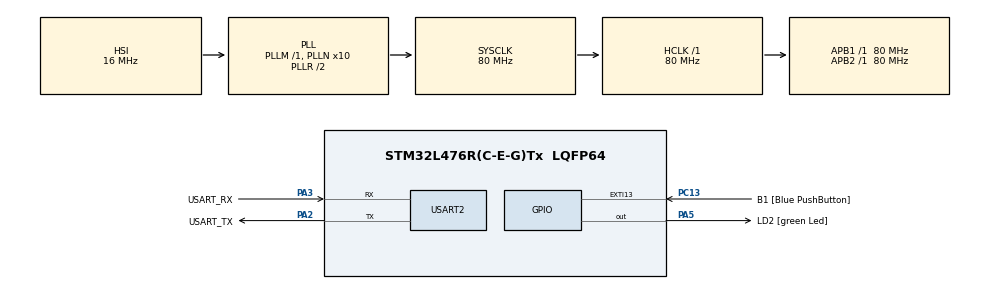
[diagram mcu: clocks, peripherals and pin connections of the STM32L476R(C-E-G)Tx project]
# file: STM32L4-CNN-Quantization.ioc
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Mcu.Family=STM32L4
Mcu.Name=STM32L476R(C-E-G)Tx
Mcu.Package=LQFP64
NVIC.PriorityGroup=NVIC_PRIORITYGROUP_4
PA13\ (JTMS-SWDIO).GPIO_Label=TMS
PA13\ (JTMS-SWDIO).Mode=Serial_Wire
PA13\ (JTMS-SWDIO).Signal=SYS_JTMS-SWDIO
PA14\ (JTCK-SWCLK).GPIO_Label=TCK
PA14\ (JTCK-SWCLK).Mode=Serial_Wire
PA14\ (JTCK-SWCLK).Signal=SYS_JTCK-SWCLK
PA2.GPIO_Label=USART_TX
PA2.GPIO_Mode=GPIO_MODE_AF_PP
PA2.GPIO_PuPd=GPIO_NOPULL
PA2.GPIO_Speed=GPIO_SPEED_FREQ_HIGH
PA2.Mode=Asynchronous
PA2.Signal=USART2_TX
PA3.GPIO_Label=USART_RX
PA3.GPIO_Mode=GPIO_MODE_AF_PP
PA3.GPIO_PuPd=GPIO_NOPULL
PA3.GPIO_Speed=GPIO_SPEED_FREQ_HIGH
PA3.Mode=Asynchronous
PA3.Signal=USART2_RX
PA5.GPIO_Label=LD2 [green Led]
PA5.GPIO_ModeDefaultOutputPP=GPIO_MODE_OUTPUT_PP
PA5.GPIO_PuPd=GPIO_NOPULL
PA5.GPIO_Speed=GPIO_SPEED_FREQ_LOW
PA5.Signal=GPIO_Output
PB3\ (JTDO-TRACESWO).GPIO_Label=SWO
PB3\ (JTDO-TRACESWO).Signal=SYS_JTDO-SWO
PC13.GPIO_Label=B1 [Blue PushButton]
PC13.GPIO_ModeDefaultEXTI=GPIO_MODE_IT_FALLING
PC13.GPIO_PuPd=GPIO_NOPULL
PC13.Signal=GPXTI13
PC14-OSC32_IN\ (PC14).Mode=LSE-External-Oscillator
PC14-OSC32_IN\ (PC14).Signal=RCC_OSC32_IN
PC15-OSC32_OUT\ (PC15).Mode=LSE-External-Oscillator
PC15-OSC32_OUT\ (PC15).Signal=RCC_OSC32_OUT
PH0-OSC_IN\ (PH0).Signal=RCC_OSC_IN
PH1-OSC_OUT\ (PH1).Signal=RCC_OSC_OUT
ProjectManager.HeapSize=0x200
ProjectManager.StackSize=0x400
ProjectManager.TargetToolchain=STM32CubeIDE
RCC.ADCFreq_Value=64000000
RCC.AHBFreq_Value=80000000
RCC.APB1Freq_Value=80000000
RCC.APB1TimFreq_Value=80000000
RCC.APB2Freq_Value=80000000
RCC.APB2TimFreq_Value=80000000
RCC.CortexFreq_Value=80000000
RCC.HCLKFreq_Value=80000000
RCC.HSE_VALUE=8000000
RCC.HSI_VALUE=16000000
RCC.MSI_VALUE=4000000
RCC.PLLN=10
RCC.PLLSourceVirtual=RCC_PLLSOURCE_HSI
RCC.PREFETCH_ENABLE=1
RCC.SYSCLKFreq_VALUE=80000000
RCC.SYSCLKSource=RCC_SYSCLKSOURCE_PLLCLK
RCC.USBFreq_Value=64000000
RCC.VCOOutputFreq_Value=160000000
USART2.VirtualMode-Asynchronous=VM_ASYNC
board=NUCLEO-L476RG

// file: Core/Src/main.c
/* USER CODE BEGIN Header */
/**
  ******************************************************************************
  * @file           : main.c
  * @brief          : Main program body
  ******************************************************************************
  * @attention
  *
  * Copyright (c) 2024 STMicroelectronics.
  * All rights reserved.
  *
  * This software is licensed under terms that can be found in the LICENSE file
  * in the root directory of this software component.
  * If no LICENSE file comes with this software, it is provided AS-IS.
  *
  ******************************************************************************
  */
/* USER CODE END Header */
#include "stdio.h"
#include "main.h"
#include "arm_math.h"
#include "arm_nnfunctions.h"

#include "parameter.h"
#include "weights.h"
#include "inputs.h"

UART_HandleTypeDef huart2;

/* USER CODE BEGIN PV */

// include the input and weights
static q7_t conv1_wt[CONV1_IM_CH * CONV1_KER_DIM * CONV1_KER_DIM * CONV1_OUT_CH] = CONV1_WT;
static q7_t conv1_bias[CONV1_OUT_CH] = CONV1_BIAS;

static q7_t conv2_wt[CONV2_IM_CH * CONV2_KER_DIM * CONV2_KER_DIM * CONV2_OUT_CH] = CONV2_WT;
static q7_t conv2_bias[CONV2_OUT_CH] = CONV2_BIAS;

static q7_t conv3_wt[CONV3_IM_CH * CONV3_KER_DIM * CONV3_KER_DIM * CONV3_OUT_CH] = CONV3_WT;
static q7_t conv3_bias[CONV3_OUT_CH] = CONV3_BIAS;

static q7_t ip1_wt[IP1_DIM * IP1_OUT] = IP1_WT;
static q7_t ip1_bias[IP1_OUT] = IP1_BIAS;

/* Here the image_data should be the raw uint8 type RGB image in [RGB, RGB, RGB ... RGB] format */
uint8_t   image_data[CONV1_IM_CH * CONV1_IM_DIM * CONV1_IM_DIM] = IMG_DATA;
q7_t      output_data[IP1_OUT];

//vector buffer: max(im2col buffer,average pool buffer, fully connected buffer)
q7_t      col_buffer[2 * 5 * 5 * 32 * 2];
q7_t      scratch_buffer[32 * 32 * 10 * 4];

/* USER CODE END PV */

void SystemClock_Config(void);
static void MX_GPIO_Init(void);
static void MX_USART2_UART_Init(void);

int main(void)
{

  /* MCU Configuration--------------------------------------------------------*/

  /* Reset of all peripherals, Initializes the Flash interface and the Systick. */
  HAL_Init();

  /* Configure the system clock */
  SystemClock_Config();

  /* Initialize all configured peripherals */
  MX_GPIO_Init();
  MX_USART2_UART_Init();

  /* Infinite loop */
  while (1)
  {

    /* USER CODE BEGIN 3 */
		uint8_t start[] = "START EXECUTION\r\n"; //Data to send
		HAL_UART_Transmit(&huart2,start,sizeof(start),10);// Sending in normal mode

		HAL_GPIO_WritePin(LD2_GPIO_Port, LD2_Pin, GPIO_PIN_SET); //SET Led to measure latency

		q7_t     *img_buffer1 = scratch_buffer;
		q7_t     *img_buffer2 = img_buffer1 + 32 * 32 * 32;

		/* input pre-processing */
		int mean_data[3] = INPUT_MEAN_SHIFT;
		unsigned int scale_data[3] = INPUT_RIGHT_SHIFT;
		for (int i=0;i<32*32*3; i+=3) {
		  img_buffer2[i] =   (q7_t)__SSAT( ((((int)image_data[i]   - mean_data[0])<<7) + (0x1<<(scale_data[0]-1)))
								   >> scale_data[0], 8);
		  img_buffer2[i+1] = (q7_t)__SSAT( ((((int)image_data[i+1] - mean_data[1])<<7) + (0x1<<(scale_data[1]-1)))
								   >> scale_data[1], 8);
		  img_buffer2[i+2] = (q7_t)__SSAT( ((((int)image_data[i+2] - mean_data[2])<<7) + (0x1<<(scale_data[2]-1)))
								   >> scale_data[2], 8);
		}

		// conv1 img_buffer2 -> img_buffer1
		arm_convolve_HWC_q7_RGB(img_buffer2, CONV1_IM_DIM, CONV1_IM_CH, conv1_wt, CONV1_OUT_CH, CONV1_KER_DIM, CONV1_PADDING,
								CONV1_STRIDE, conv1_bias, CONV1_BIAS_LSHIFT, CONV1_OUT_RSHIFT, img_buffer1, CONV1_OUT_DIM,
								(q15_t *) col_buffer, NULL);

		arm_relu_q7(img_buffer1, CONV1_OUT_DIM * CONV1_OUT_DIM * CONV1_OUT_CH);

		// pool1 img_buffer1 -> img_buffer2
		arm_maxpool_q7_HWC(img_buffer1, CONV1_OUT_DIM, CONV1_OUT_CH, POOL1_KER_DIM,
						   POOL1_PADDING, POOL1_STRIDE, POOL1_OUT_DIM, NULL, img_buffer2);

		// conv2 img_buffer2 -> img_buffer1
		arm_convolve_HWC_q7_fast(img_buffer2, CONV2_IM_DIM, CONV2_IM_CH, conv2_wt, CONV2_OUT_CH, CONV2_KER_DIM,
								 CONV2_PADDING, CONV2_STRIDE, conv2_bias, CONV2_BIAS_LSHIFT, CONV2_OUT_RSHIFT, img_buffer1,
								 CONV2_OUT_DIM, (q15_t *) col_buffer, NULL);

		arm_relu_q7(img_buffer1, CONV2_OUT_DIM * CONV2_OUT_DIM * CONV2_OUT_CH);

		// pool2 img_buffer1 -> img_buffer2
		arm_maxpool_q7_HWC(img_buffer1, CONV2_OUT_DIM, CONV2_OUT_CH, POOL2_KER_DIM,
						   POOL2_PADDING, POOL2_STRIDE, POOL2_OUT_DIM, col_buffer, img_buffer2);

	  // conv3 img_buffer2 -> img_buffer1
		arm_convolve_HWC_q7_fast(img_buffer2, CONV3_IM_DIM, CONV3_IM_CH, conv3_wt, CONV3_OUT_CH, CONV3_KER_DIM,
								 CONV3_PADDING, CONV3_STRIDE, conv3_bias, CONV3_BIAS_LSHIFT, CONV3_OUT_RSHIFT, img_buffer1,
								 CONV3_OUT_DIM, (q15_t *) col_buffer, NULL);

		arm_relu_q7(img_buffer1, CONV3_OUT_DIM * CONV3_OUT_DIM * CONV3_OUT_CH);

		// pool3 img_buffer-> img_buffer2
		arm_maxpool_q7_HWC(img_buffer1, CONV3_OUT_DIM, CONV3_OUT_CH, POOL3_KER_DIM,
						   POOL3_PADDING, POOL3_STRIDE, POOL3_OUT_DIM, col_buffer, img_buffer2);

		arm_fully_connected_q7_opt(img_buffer2, ip1_wt, IP1_DIM, IP1_OUT, IP1_BIAS_LSHIFT, IP1_OUT_RSHIFT, ip1_bias,
								   output_data, (q15_t *) img_buffer1);

		arm_softmax_q7(output_data, 10, output_data);

		HAL_GPIO_WritePin(LD2_GPIO_Port, LD2_Pin, GPIO_PIN_RESET);

		for (int i = 0; i < 10; i++) {
		    uint8_t res[20];
		    snprintf((char *)res, sizeof(res), "%d: %d\n\r", i, output_data[i]);

		    // Transmit only the length of the formatted string
		    HAL_UART_Transmit(&huart2, res, strlen((char *)res), 10);
		}

		HAL_Delay(1000);

  }
  /* USER CODE END 3 */
}

void SystemClock_Config(void)
{
  RCC_OscInitTypeDef RCC_OscInitStruct = {0};
  RCC_ClkInitTypeDef RCC_ClkInitStruct = {0};

  /** Configure the main internal regulator output voltage
  */
  if (HAL_PWREx_ControlVoltageScaling(PWR_REGULATOR_VOLTAGE_SCALE1) != HAL_OK)
  {
    Error_Handler();
  }

  /** Initializes the RCC Oscillators according to the specified parameters
  * in the RCC_OscInitTypeDef structure.
  */
  RCC_OscInitStruct.OscillatorType = RCC_OSCILLATORTYPE_HSI;
  RCC_OscInitStruct.HSIState = RCC_HSI_ON;
  RCC_OscInitStruct.HSICalibrationValue = RCC_HSICALIBRATION_DEFAULT;
  RCC_OscInitStruct.PLL.PLLState = RCC_PLL_ON;
  RCC_OscInitStruct.PLL.PLLSource = RCC_PLLSOURCE_HSI;
  RCC_OscInitStruct.PLL.PLLM = 1;
  RCC_OscInitStruct.PLL.PLLN = 10;
  RCC_OscInitStruct.PLL.PLLP = RCC_PLLP_DIV7;
  RCC_OscInitStruct.PLL.PLLQ = RCC_PLLQ_DIV2;
  RCC_OscInitStruct.PLL.PLLR = RCC_PLLR_DIV2;
  if (HAL_RCC_OscConfig(&RCC_OscInitStruct) != HAL_OK)
  {
    Error_Handler();
  }

  /** Initializes the CPU, AHB and APB buses clocks
  */
  RCC_ClkInitStruct.ClockType = RCC_CLOCKTYPE_HCLK|RCC_CLOCKTYPE_SYSCLK
                              |RCC_CLOCKTYPE_PCLK1|RCC_CLOCKTYPE_PCLK2;
  RCC_ClkInitStruct.SYSCLKSource = RCC_SYSCLKSOURCE_PLLCLK;
  RCC_ClkInitStruct.AHBCLKDivider = RCC_SYSCLK_DIV1;
  RCC_ClkInitStruct.APB1CLKDivider = RCC_HCLK_DIV1;
  RCC_ClkInitStruct.APB2CLKDivider = RCC_HCLK_DIV1;

  if (HAL_RCC_ClockConfig(&RCC_ClkInitStruct, FLASH_LATENCY_4) != HAL_OK)
  {
    Error_Handler();
  }
}

static void MX_USART2_UART_Init(void)
{

  huart2.Instance = USART2;
  huart2.Init.BaudRate = 115200;
  huart2.Init.WordLength = UART_WORDLENGTH_8B;
  huart2.Init.StopBits = UART_STOPBITS_1;
  huart2.Init.Parity = UART_PARITY_NONE;
  huart2.Init.Mode = UART_MODE_TX_RX;
  huart2.Init.HwFlowCtl = UART_HWCONTROL_NONE;
  huart2.Init.OverSampling = UART_OVERSAMPLING_16;
  huart2.Init.OneBitSampling = UART_ONE_BIT_SAMPLE_DISABLE;
  huart2.AdvancedInit.AdvFeatureInit = UART_ADVFEATURE_NO_INIT;
  if (HAL_UART_Init(&huart2) != HAL_OK)
  {
    Error_Handler();
  }

}

static void MX_GPIO_Init(void)
{
  GPIO_InitTypeDef GPIO_InitStruct = {0};

  /* GPIO Ports Clock Enable */
  __HAL_RCC_GPIOC_CLK_ENABLE();
  __HAL_RCC_GPIOH_CLK_ENABLE();
  __HAL_RCC_GPIOA_CLK_ENABLE();
  __HAL_RCC_GPIOB_CLK_ENABLE();

  /*Configure GPIO pin Output Level */
  HAL_GPIO_WritePin(LD2_GPIO_Port, LD2_Pin, GPIO_PIN_RESET);

  /*Configure GPIO pin : B1_Pin */
  GPIO_InitStruct.Pin = B1_Pin;
  GPIO_InitStruct.Mode = GPIO_MODE_IT_FALLING;
  GPIO_InitStruct.Pull = GPIO_NOPULL;
  HAL_GPIO_Init(B1_GPIO_Port, &GPIO_InitStruct);

  /*Configure GPIO pin : LD2_Pin */
  GPIO_InitStruct.Pin = LD2_Pin;
  GPIO_InitStruct.Mode = GPIO_MODE_OUTPUT_PP;
  GPIO_InitStruct.Pull = GPIO_NOPULL;
  GPIO_InitStruct.Speed = GPIO_SPEED_FREQ_LOW;
  HAL_GPIO_Init(LD2_GPIO_Port, &GPIO_InitStruct);

}

void Error_Handler(void)
{
  __disable_irq();
  while (1)
  {
  }
}
